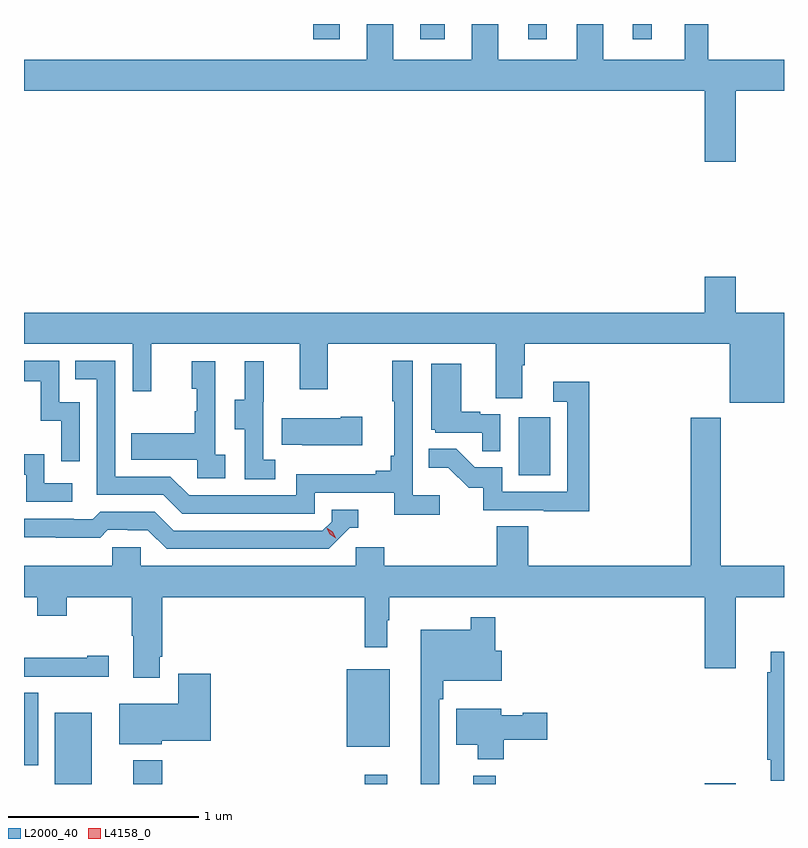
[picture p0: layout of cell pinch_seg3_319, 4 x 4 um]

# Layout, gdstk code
import gdstk
lib = gdstk.Library(unit=1e-6, precision=1e-09)
def R(c, l, rs):  # rectangles x0, y0, x1, y1
    for r in rs: c.add(gdstk.rectangle(r[:2], r[2:], *l))
def P(c, l, *ps):  # polygons
    for p in ps: c.add(gdstk.Polygon(p, *l))
L2000_40 = (2000, 40)
L4158_0 = (4158, 0)

pinch_seg3_319 = lib.new_cell('pinch_seg3_319')
R(pinch_seg3_319, L2000_40, [(988.76,707.924,988.954,708.298), (989.171,707.924,989.324,708.049), (990.391,707.924,990.509,707.974), (990.962,707.924,991.079,707.968), (992.18,707.924,992.344,707.929), (988.597,708.024,988.672,708.404), (990.296,708.119,990.523,708.529), (991.202,709.548,991.366,709.855), (990.119,711.843,990.259,711.924), (990.683,711.843,990.811,711.924), (991.25,711.843,991.348,711.924), (991.802,711.843,991.9,711.924)])
P(pinch_seg3_319, L2000_40, [(992.344,711.572),(992.597,711.572),(992.597,711.736),(992.197,711.736),(992.197,711.924),(992.075,711.924),(992.075,711.736),(991.645,711.736),(991.645,711.924),(991.505,711.924),(991.505,711.736),(991.093,711.736),(991.093,711.924),(990.953,711.924),(990.953,711.736),(990.541,711.736),(990.541,711.924),(990.401,711.924),(990.401,711.736),(988.597,711.736),(988.597,711.572),(992.18,711.572),(992.18,711.198),(992.344,711.198)],
  [(992.597,710.404),(992.344,710.404),(992.344,710.593),(992.18,710.593),(992.18,710.404),(988.597,710.404),(988.597,710.24),(989.169,710.24),(989.169,709.992),(989.267,709.992),(989.267,710.24),(990.047,710.24),(990.047,710.001),(990.195,710.001),(990.195,710.24),(991.079,710.24),(991.079,709.954),(991.219,709.954),(991.219,710.128),(991.232,710.128),(991.232,710.24),(992.312,710.24),(992.312,709.931),(992.597,709.931)],
  [(990.784,709.444),(990.642,709.444),(990.642,710.152),(990.534,710.152),(990.534,709.939),(990.545,709.939),(990.545,709.651),(990.526,709.651),(990.526,709.574),(990.449,709.574),(990.449,709.555),(990.03,709.555),(990.03,709.443),(989.466,709.443),(989.367,709.542),(989.076,709.542),(989.076,710.151),(988.867,710.151),(988.867,710.055),(988.98,710.055),(988.98,709.446),(989.33,709.446),(989.429,709.347),(990.126,709.347),(990.126,709.458),(990.545,709.458),(990.545,709.342),(990.784,709.342)],
  [(988.89,709.932),(988.782,709.932),(988.782,710.151),(988.597,710.151),(988.597,710.043),(988.685,710.043),(988.685,709.835),(988.794,709.835),(988.794,709.623),(988.89,709.623)],
  [(989.656,709.658),(989.604,709.658),(989.604,710.149),(989.48,710.149),(989.48,710.004),(989.506,710.004),(989.506,709.886),(989.496,709.886),(989.496,709.771),(989.161,709.771),(989.161,709.631),(989.508,709.631),(989.508,709.533),(989.656,709.533)],
  [(989.92,709.631),(989.856,709.631),(989.856,709.935),(989.858,709.935),(989.858,710.149),(989.759,710.149),(989.759,709.947),(989.705,709.947),(989.705,709.792),(989.76,709.792),(989.76,709.528),(989.92,709.528)],
  [(991.104,709.869),(990.998,709.869),(990.998,709.882),(990.898,709.882),(990.898,710.137),(990.74,710.137),(990.74,709.788),(990.762,709.788),(990.762,709.773),(991.009,709.773),(991.009,709.675),(991.104,709.675)],
  [(991.571,710.041),(991.383,710.041),(991.383,709.935),(991.455,709.935),(991.455,709.461),(991.113,709.461),(991.113,709.59),(990.969,709.59),(990.871,709.688),(990.727,709.688),(990.727,709.589),(990.831,709.589),(990.938,709.482),(991.015,709.482),(991.015,709.365),(991.333,709.365),(991.333,709.36),(991.571,709.36)],
  [(990.376,709.857),(990.263,709.857),(990.263,709.849),(989.953,709.849),(989.953,709.709),(990.061,709.709),(990.061,709.706),(990.376,709.706)],
  [(989.211,709.17),(989.061,709.17),(989.061,709.072),(988.597,709.072),(988.597,708.908),(988.666,708.908),(988.666,708.809),(988.821,708.809),(988.821,708.908),(989.164,708.908),(989.164,708.704),(989.171,708.704),(989.171,708.483),(989.311,708.483),(989.311,708.595),(989.324,708.595),(989.324,708.908),(990.391,708.908),(990.391,708.645),(990.508,708.645),(990.508,708.785),(990.52,708.785),(990.52,708.908),(992.18,708.908),(992.18,708.534),(992.344,708.534),(992.344,708.908),(992.597,708.908),(992.597,709.072),(992.265,709.072),(992.265,709.852),(992.105,709.852),(992.105,709.072),(991.25,709.072),(991.25,709.28),(991.085,709.28),(991.085,709.072),(990.494,709.072),(990.494,709.17),(990.342,709.17),(990.342,709.072),(989.211,709.072)],
  [(988.852,709.506),(988.704,709.506),(988.704,709.66),(988.597,709.66),(988.597,709.551),(988.608,709.551),(988.608,709.41),(988.852,709.41)],
  [(990.312,709.272),(990.355,709.272),(990.355,709.368),(990.216,709.368),(990.216,709.305),(990.168,709.257),(989.385,709.257),(989.286,709.356),(988.997,709.356),(988.958,709.317),(988.859,709.317),(988.859,709.32),(988.597,709.32),(988.597,709.223),(988.764,709.223),(988.764,709.221),(988.997,709.221),(989.039,709.263),(989.142,709.263),(989.142,709.26),(989.249,709.26),(989.348,709.161),(990.201,709.161)],
  [(990.783,708.371),(990.803,708.371),(990.803,708.467),(991.111,708.467),(991.111,708.625),(991.076,708.625),(991.076,708.802),(990.948,708.802),(990.948,708.736),(990.686,708.736),(990.686,707.924),(990.783,707.924)],
  [(992.597,708.62),(992.528,708.62),(992.528,708.512),(992.509,708.512),(992.509,708.052),(992.528,708.052),(992.528,707.94),(992.597,707.94)],
  [(989.044,708.598),(988.931,708.598),(988.931,708.588),(988.597,708.588),(988.597,708.489),(988.768,708.489),(988.768,708.488),(989.044,708.488)],
  [(989.322,708.152),(989.579,708.152),(989.579,708.505),(989.408,708.505),(989.408,708.346),(989.099,708.346),(989.099,708.134),(989.322,708.134)],
  [(991.121,708.157),(991.351,708.157),(991.351,708.299),(991.221,708.299),(991.221,708.286),(991.108,708.286),(991.108,708.319),(990.872,708.319),(990.872,708.131),(990.986,708.131),(990.986,708.053),(991.121,708.053)])
P(pinch_seg3_319, L4158_0, [(990.238,709.218),(990.207,709.238),(990.191,709.27),(990.191,709.27),(990.192,709.27),(990.222,709.251),(990.238,709.219),(990.238,709.218)])

lib.write_gds('pinch_seg3_319.gds')
